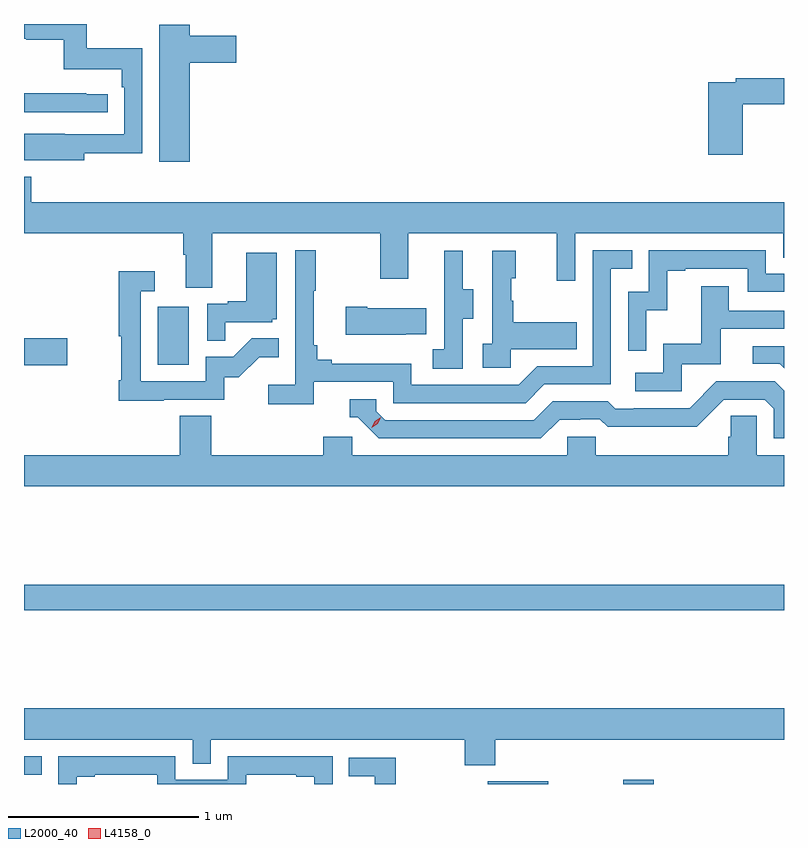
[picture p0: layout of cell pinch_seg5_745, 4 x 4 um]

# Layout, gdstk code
import gdstk
lib = gdstk.Library(unit=1e-6, precision=1e-09)
def R(c, l, rs):  # rectangles x0, y0, x1, y1
    for r in rs: c.add(gdstk.rectangle(r[:2], r[2:], *l))
def P(c, l, *ps):  # polygons
    for p in ps: c.add(gdstk.Polygon(p, *l))
L2000_40 = (2000, 40)
L4158_0 = (4158, 0)

pinch_seg5_745 = lib.new_cell('pinch_seg5_745')
R(pinch_seg5_745, L2000_40, [(865.693,901.814,866.011,901.828), (866.405,901.814,866.566,901.837), (863.251,901.863,863.345,901.959), (863.251,902.728,867.251,902.864), (863.251,904.018,863.479,904.16), (863.954,904.02,864.118,904.327)])
P(pinch_seg5_745, L2000_40, [(863.569,905.134),(863.874,905.134),(863.874,905.686),(863.581,905.686),(863.581,905.814),(863.251,905.814),(863.251,905.736),(863.263,905.736),(863.263,905.731),(863.46,905.731),(863.46,905.576),(863.765,905.576),(863.765,905.48),(863.778,905.48),(863.778,905.235),(863.465,905.235),(863.465,905.236),(863.251,905.236),(863.251,905.096),(863.569,905.096)],
  [(864.124,905.609),(864.367,905.609),(864.367,905.751),(864.124,905.751),(864.124,905.809),(863.963,905.809),(863.963,905.088),(864.124,905.088)],
  [(867.035,905.392),(867.251,905.392),(867.251,905.528),(866.998,905.528),(866.998,905.508),(866.852,905.508),(866.852,905.127),(867.035,905.127)],
  [(863.692,905.445),(863.579,905.445),(863.579,905.45),(863.251,905.45),(863.251,905.349),(863.692,905.349)],
  [(864.241,904.712),(865.126,904.712),(865.126,904.473),(865.273,904.473),(865.273,904.712),(866.054,904.712),(866.054,904.464),(866.151,904.464),(866.151,904.712),(867.246,904.712),(867.246,904.585),(867.251,904.585),(867.251,904.876),(863.288,904.876),(863.288,905.011),(863.251,905.011),(863.251,904.712),(864.089,904.712),(864.089,904.6),(864.101,904.6),(864.101,904.426),(864.241,904.426)],
  [(864.776,903.93),(865.194,903.93),(865.194,903.819),(865.891,903.819),(865.99,903.918),(866.34,903.918),(866.34,904.527),(866.453,904.527),(866.453,904.623),(866.244,904.623),(866.244,904.014),(865.953,904.014),(865.854,903.915),(865.29,903.915),(865.29,904.027),(864.871,904.027),(864.871,904.046),(864.794,904.046),(864.794,904.123),(864.775,904.123),(864.775,904.411),(864.787,904.411),(864.787,904.624),(864.678,904.624),(864.678,903.916),(864.537,903.916),(864.537,903.814),(864.776,903.814)],
  [(866.526,904.307),(866.636,904.307),(866.636,904.515),(866.731,904.515),(866.731,904.527),(867.06,904.527),(867.06,904.404),(867.251,904.404),(867.251,904.5),(867.156,904.5),(867.156,904.623),(866.538,904.623),(866.538,904.404),(866.43,904.404),(866.43,904.095),(866.526,904.095)],
  [(865.812,904.103),(866.159,904.103),(866.159,904.243),(865.825,904.243),(865.825,904.358),(865.815,904.358),(865.815,904.476),(865.84,904.476),(865.84,904.621),(865.716,904.621),(865.716,904.13),(865.665,904.13),(865.665,904.005),(865.812,904.005)],
  [(865.56,904.264),(865.615,904.264),(865.615,904.419),(865.561,904.419),(865.561,904.621),(865.463,904.621),(865.463,904.407),(865.464,904.407),(865.464,904.103),(865.401,904.103),(865.401,904),(865.56,904)],
  [(864.311,904.245),(864.558,904.245),(864.558,904.26),(864.58,904.26),(864.58,904.609),(864.422,904.609),(864.422,904.354),(864.323,904.354),(864.323,904.341),(864.216,904.341),(864.216,904.147),(864.311,904.147)],
  [(863.987,903.837),(864.306,903.837),(864.306,903.954),(864.382,903.954),(864.489,904.061),(864.593,904.061),(864.593,904.16),(864.449,904.16),(864.351,904.062),(864.207,904.062),(864.207,903.933),(863.865,903.933),(863.865,904.407),(863.938,904.407),(863.938,904.513),(863.749,904.513),(863.749,904.17),(863.764,904.17),(863.764,903.94),(863.749,903.94),(863.749,903.832),(863.987,903.832)],
  [(866.712,904.023),(866.917,904.023),(866.917,904.209),(867.251,904.209),(867.251,904.305),(866.959,904.305),(866.959,904.435),(866.815,904.435),(866.815,904.132),(866.616,904.132),(866.616,903.978),(866.469,903.978),(866.469,903.882),(866.712,903.882)],
  [(865.259,904.181),(865.367,904.181),(865.367,904.318),(865.057,904.318),(865.057,904.326),(864.945,904.326),(864.945,904.178),(865.259,904.178)],
  [(867.251,904.119),(867.087,904.119),(867.087,904.026),(867.228,904.026),(867.251,904.003)],
  [(866.071,903.732),(866.178,903.732),(866.178,903.735),(866.281,903.735),(866.323,903.693),(866.556,903.693),(866.556,903.695),(866.792,903.695),(866.934,903.837),(867.15,903.837),(867.198,903.789),(867.198,903.633),(867.251,903.633),(867.251,903.883),(867.201,903.933),(866.895,903.933),(866.754,903.792),(866.461,903.792),(866.461,903.789),(866.362,903.789),(866.323,903.828),(866.034,903.828),(865.935,903.729),(865.152,903.729),(865.104,903.777),(865.104,903.84),(864.965,903.84),(864.965,903.744),(865.008,903.744),(865.119,903.633),(865.972,903.633)],
  [(867.251,903.544),(867.108,903.544),(867.108,903.752),(866.971,903.752),(866.971,903.642),(866.957,903.642),(866.957,903.544),(866.259,903.544),(866.259,903.642),(866.109,903.642),(866.109,903.544),(864.978,903.544),(864.978,903.642),(864.827,903.642),(864.827,903.544),(864.236,903.544),(864.236,903.752),(864.071,903.752),(864.071,903.544),(863.251,903.544),(863.251,903.38),(867.251,903.38)],
  [(865.73,902.048),(867.251,902.048),(867.251,902.212),(863.251,902.212),(863.251,902.048),(864.138,902.048),(864.138,901.921),(864.234,901.921),(864.234,902.048),(865.57,902.048),(865.57,901.913),(865.73,901.913)],
  [(863.528,901.851),(863.623,901.851),(863.623,901.863),(863.952,901.863),(863.952,901.814),(864.42,901.814),(864.42,901.863),(864.683,901.863),(864.683,901.851),(864.779,901.851),(864.779,901.814),(864.876,901.814),(864.876,901.959),(864.324,901.959),(864.324,901.836),(864.048,901.836),(864.048,901.959),(863.43,901.959),(863.43,901.814),(863.528,901.814)],
  [(865.207,901.953),(864.961,901.953),(864.961,901.856),(865.096,901.856),(865.096,901.814),(865.207,901.814)])
P(pinch_seg5_745, L4158_0, [(865.081,903.69),(865.081,903.69),(865.097,903.723),(865.128,903.743),(865.128,903.743),(865.128,903.743),(865.112,903.71),(865.082,903.69)])

lib.write_gds('pinch_seg5_745.gds')
